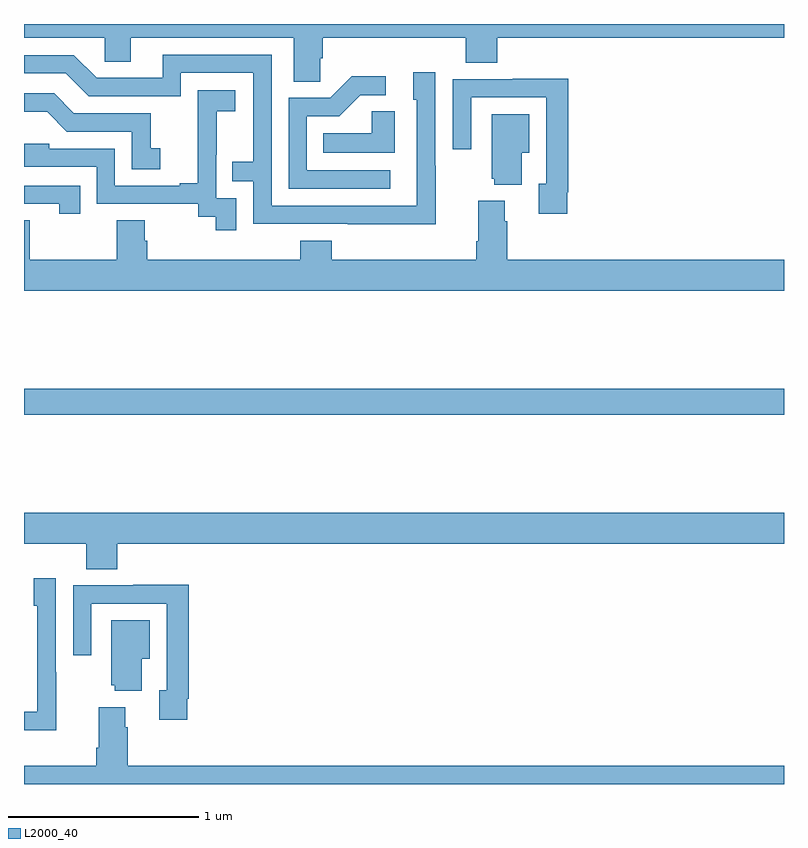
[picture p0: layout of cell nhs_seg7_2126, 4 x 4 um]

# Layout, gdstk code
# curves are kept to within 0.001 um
import gdstk
lib = gdstk.Library(unit=1e-6, precision=1e-09)
def R(c, l, rs):  # rectangles x0, y0, x1, y1
    for r in rs: c.add(gdstk.rectangle(r[:2], r[2:], *l))
def P(c, l, *ps):  # polygons
    for p in ps: c.add(gdstk.Polygon(p, *l))
L2000_40 = (2000, 40)

nhs_seg7_2126 = lib.new_cell('nhs_seg7_2126')
R(nhs_seg7_2126, L2000_40, [(251,1019.944,255,1020.08)])
P(nhs_seg7_2126, L2000_40, [(252.558,1021.819),(252.572,1021.819),(252.572,1021.928),(253.325,1021.928),(253.325,1021.795),(253.49,1021.795),(253.49,1021.928),(255,1021.928),(255,1022),(251,1022),(251,1021.928),(251.424,1021.928),(251.424,1021.801),(251.563,1021.801),(251.563,1021.928),(252.419,1021.928),(252.419,1021.696),(252.558,1021.696)],
  [(253.167,1021.253),(253.164,1021.253),(253.164,1021.747),(253.049,1021.747),(253.049,1021.602),(253.068,1021.602),(253.068,1021.044),(252.303,1021.044),(252.303,1021.839),(251.729,1021.839),(251.729,1021.716),(251.382,1021.716),(251.262,1021.836),(251,1021.836),(251,1021.74),(251.22,1021.74),(251.34,1021.62),(251.826,1021.62),(251.826,1021.743),(252.207,1021.743),(252.207,1021.274),(252.097,1021.274),(252.097,1021.173),(252.207,1021.173),(252.207,1020.948),(253.167,1020.947)],
  [(252.928,1021.23),(252.489,1021.23),(252.489,1021.515),(252.658,1021.515),(252.769,1021.626),(252.904,1021.626),(252.904,1021.724),(252.725,1021.724),(252.612,1021.611),(252.393,1021.611),(252.393,1021.134),(252.928,1021.134)],
  [(253.858,1021.114),(253.865,1021.114),(253.865,1021.712),(253.573,1021.712),(253.573,1021.71),(253.257,1021.71),(253.257,1021.341),(253.353,1021.341),(253.353,1021.614),(253.749,1021.614),(253.749,1021.158),(253.709,1021.158),(253.709,1021.002),(253.858,1021.002)],
  [(252.117,1021.083),(252.012,1021.083),(252.012,1021.313),(252.014,1021.313),(252.014,1021.541),(252.112,1021.541),(252.112,1021.651),(251.914,1021.651),(251.914,1021.445),(251.915,1021.445),(251.915,1021.162),(251.819,1021.162),(251.819,1021.149),(251.478,1021.149),(251.478,1021.344),(251.133,1021.344),(251.133,1021.371),(251,1021.371),(251,1021.248),(251.382,1021.248),(251.382,1021.053),(251.916,1021.053),(251.916,1020.985),(252.009,1020.985),(252.009,1020.915),(252.117,1020.915)],
  [(251.716,1021.345),(251.667,1021.345),(251.667,1021.53),(251.263,1021.53),(251.158,1021.635),(251,1021.635),(251,1021.538),(251.122,1021.538),(251.226,1021.434),(251.568,1021.434),(251.568,1021.236),(251.716,1021.236)],
  [(252.952,1021.541),(252.831,1021.541),(252.831,1021.426),(252.574,1021.426),(252.574,1021.322),(252.952,1021.322)],
  [(253.621,1021.322),(253.66,1021.322),(253.66,1021.525),(253.463,1021.525),(253.463,1021.185),(253.475,1021.185),(253.475,1021.154),(253.621,1021.154)],
  [(251.297,1021.149),(251,1021.149),(251,1021.053),(251.186,1021.053),(251.186,1021.002),(251.297,1021.002)],
  [(255,1020.76),(253.544,1020.76),(253.544,1020.962),(253.531,1020.962),(253.531,1021.069),(253.391,1021.069),(253.391,1020.856),(253.379,1020.856),(253.379,1020.76),(252.62,1020.76),(252.62,1020.859),(252.455,1020.859),(252.455,1020.76),(251.648,1020.76),(251.648,1020.858),(251.635,1020.858),(251.635,1020.968),(251.488,1020.968),(251.488,1020.76),(251.031,1020.76),(251.031,1020.968),(251,1020.968),(251,1020.596),(255,1020.596)],
  [(251.492,1019.264),(255,1019.264),(255,1019.428),(251,1019.428),(251,1019.264),(251.327,1019.264),(251.327,1019.131),(251.492,1019.131)],
  [(251.169,1018.589),(251.166,1018.589),(251.166,1019.083),(251.051,1019.083),(251.051,1018.938),(251.07,1018.938),(251.07,1018.38),(251,1018.38),(251,1018.283),(251.169,1018.283)],
  [(251.86,1018.45),(251.867,1018.45),(251.867,1019.048),(251.575,1019.048),(251.575,1019.046),(251.259,1019.046),(251.259,1018.677),(251.355,1018.677),(251.355,1018.95),(251.751,1018.95),(251.751,1018.494),(251.711,1018.494),(251.711,1018.338),(251.86,1018.338)],
  [(251.62,1018.658),(251.662,1018.658),(251.662,1018.861),(251.459,1018.861),(251.459,1018.521),(251.477,1018.521),(251.477,1018.49),(251.62,1018.49)],
  [(255,1018.096),(251.546,1018.096),(251.546,1018.298),(251.533,1018.298),(251.533,1018.405),(251.393,1018.405),(251.393,1018.192),(251.381,1018.192),(251.381,1018.096),(251,1018.096),(251,1018),(255,1018)])

lib.write_gds('nhs_seg7_2126.gds')
